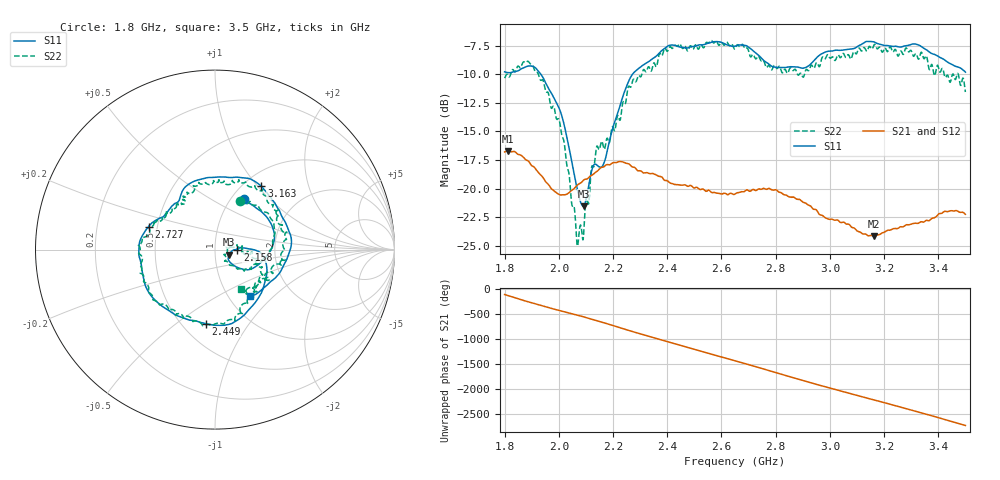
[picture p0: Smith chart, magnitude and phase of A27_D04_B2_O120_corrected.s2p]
! Created with skrf 1.9.0 (http://scikit-rf.org).
# Hz S RI R 50.0
!freq ReS11 ImS11 ReS21 ImS21 ReS12 ImS12 ReS22 ImS22
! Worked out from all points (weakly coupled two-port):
!   1601 points, 1.8 GHz to 3.5 GHz, reference 50 ohm
!   highest |S21| = -16.70 dB at 1.812 GHz (marker M1); lowest = -24.2 dB at 3.161 GHz (marker M2)
!   lowest |S11| = -21.5 dB at 2.091 GHz (marker M3), VSWR 1.18, Z = 58.4 - j3.42 ohm
!   |S11| at or under -10 dB: 1.934 GHz to 2.272 GHz (338.1 MHz wide, 16.1 % of centre)
!   |S22| runs from -25.0 to -7.0 dB; largest |S21 - S12| = 0.0023
!   S11 on the Smith chart (normalised r, x): 1.8 GHz: 1.14, +0.72; 2.158 GHz: 1.28, +0.00; 2.449 GHz: 0.65, -0.65; 2.727 GHz: 0.45, +0.14; 3.163 GHz: 1.20, +1.05; 3.5 GHz: 1.25, -0.72
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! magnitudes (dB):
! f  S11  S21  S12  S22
! 1.8 GHz  -9.8  -16.8  -16.8  -10.3
! 1.812 GHz  -9.9  -16.7  -16.7  -10.0
! 1.884 GHz  -9.3  -17.5  -17.6  -8.9
! 1.941 GHz  -10.3  -19.0  -19.0  -10.5
! 2.01 GHz  -13.6  -20.6  -20.5  -15.2
! 2.066 GHz  -19.8  -19.8  -19.8  -24.5
! 2.084 GHz  -21.4  -19.5  -19.4  -23.6
! 2.091 GHz  -21.5  -19.3  -19.3  -24.2
! 2.127 GHz  -18.0  -18.7  -18.7  -18.1
! 2.158 GHz  -18.1  -18.1  -18.1  -15.9
! 2.262 GHz  -10.4  -17.9  -17.9  -11.1
! 2.367 GHz  -8.2  -18.9  -18.8  -8.5
! 2.449 GHz  -7.6  -19.7  -19.7  -7.4
! 2.65 GHz  -7.5  -20.5  -20.4  -7.8
! 2.727 GHz  -8.1  -20.2  -20.2  -8.7
! 2.797 GHz  -9.4  -20.1  -20.1  -9.2
! 2.934 GHz  -9.0  -21.7  -21.6  -9.2
! 3.161 GHz  -7.2  -24.2  -24.1  -7.5
! 3.163 GHz  -7.2  -24.1  -24.1  -7.4
! 3.217 GHz  -7.5  -23.6  -23.6  -7.8
! 3.324 GHz  -7.4  -23.0  -23.0  -8.5
! 3.5 GHz  -9.8  -22.2  -22.2  -11.6
